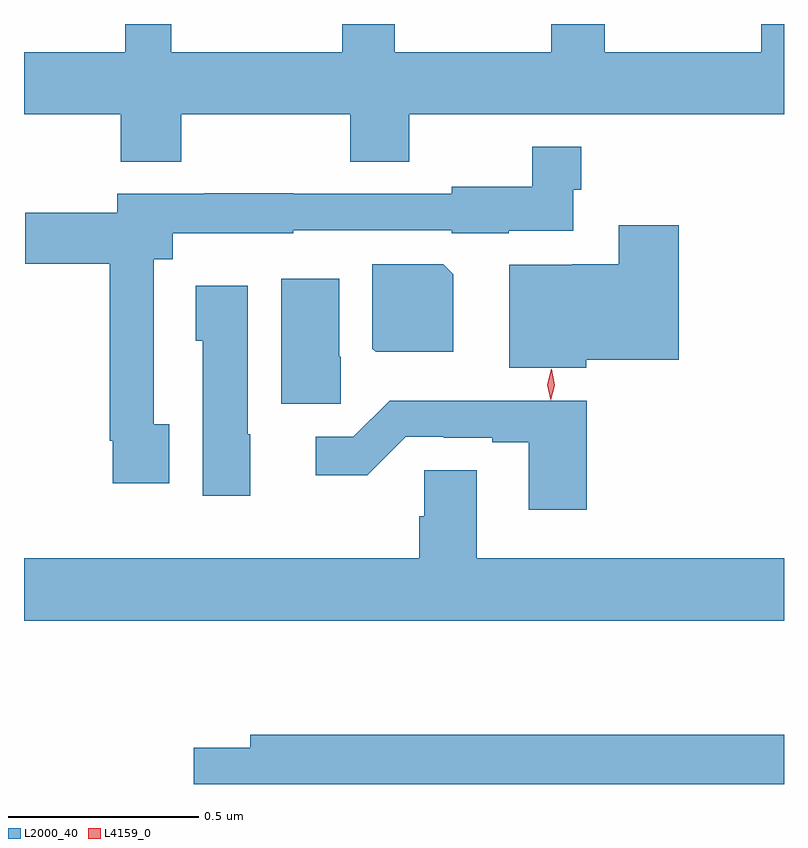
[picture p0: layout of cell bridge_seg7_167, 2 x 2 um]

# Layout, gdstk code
import gdstk
lib = gdstk.Library(unit=1e-6, precision=1e-09)
def P(c, l, *ps):  # polygons
    for p in ps: c.add(gdstk.Polygon(p, *l))
L2000_40 = (2000, 40)
L4159_0 = (4159, 0)

bridge_seg7_167 = lib.new_cell('bridge_seg7_167')
P(bridge_seg7_167, L2000_40, [(466.557,1059.224),(467.002,1059.224),(467.002,1059.1),(467.157,1059.1),(467.157,1059.224),(468.143,1059.224),(468.143,1059.462),(468.083,1059.462),(468.083,1059.388),(467.671,1059.388),(467.671,1059.462),(467.531,1059.462),(467.531,1059.388),(467.119,1059.388),(467.119,1059.462),(466.98,1059.462),(466.98,1059.388),(466.531,1059.388),(466.531,1059.462),(466.41,1059.462),(466.41,1059.388),(466.143,1059.388),(466.143,1059.224),(466.397,1059.224),(466.397,1059.1),(466.557,1059.1)],
  [(466.525,1058.409),(466.485,1058.409),(466.485,1058.843),(466.534,1058.843),(466.534,1058.912),(466.851,1058.912),(466.851,1058.919),(467.268,1058.919),(467.268,1058.912),(467.418,1058.912),(467.418,1058.918),(467.589,1058.918),(467.589,1059.026),(467.609,1059.026),(467.609,1059.139),(467.481,1059.139),(467.481,1059.034),(467.268,1059.034),(467.268,1059.015),(466.851,1059.015),(466.851,1059.017),(466.619,1059.017),(466.619,1059.015),(466.388,1059.015),(466.388,1058.965),(466.146,1058.965),(466.146,1058.831),(466.369,1058.831),(466.369,1058.365),(466.377,1058.365),(466.377,1058.253),(466.525,1058.253)],
  [(467.622,1058.579),(467.866,1058.579),(467.866,1058.932),(467.708,1058.932),(467.708,1058.83),(467.586,1058.83),(467.586,1058.828),(467.42,1058.828),(467.42,1058.558),(467.622,1058.558)],
  [(467.272,1058.804),(467.246,1058.83),(467.06,1058.83),(467.06,1058.608),(467.068,1058.6),(467.272,1058.6)],
  [(466.976,1058.586),(466.972,1058.586),(466.972,1058.791),(466.82,1058.791),(466.82,1058.463),(466.976,1058.463)],
  [(466.738,1058.382),(466.732,1058.382),(466.732,1058.773),(466.595,1058.773),(466.595,1058.628),(466.613,1058.628),(466.613,1058.22),(466.738,1058.22)],
  [(467.624,1058.471),(467.105,1058.471),(467.01,1058.376),(466.911,1058.376),(466.911,1058.274),(467.046,1058.274),(467.148,1058.376),(467.248,1058.376),(467.248,1058.373),(467.375,1058.373),(467.375,1058.361),(467.471,1058.361),(467.471,1058.184),(467.624,1058.184)],
  [(468.143,1058.056),(467.335,1058.056),(467.335,1058.288),(467.196,1058.288),(467.196,1058.166),(467.183,1058.166),(467.183,1058.056),(466.143,1058.056),(466.143,1057.892),(468.143,1057.892)],
  [(468.143,1057.591),(466.739,1057.591),(466.739,1057.557),(466.59,1057.557),(466.59,1057.462),(468.143,1057.462)])
P(bridge_seg7_167, L4159_0, [(467.529,1058.472),(467.529,1058.472),(467.52,1058.513),(467.531,1058.553),(467.531,1058.553),(467.532,1058.553),(467.54,1058.512),(467.529,1058.472)])

lib.write_gds('bridge_seg7_167.gds')
